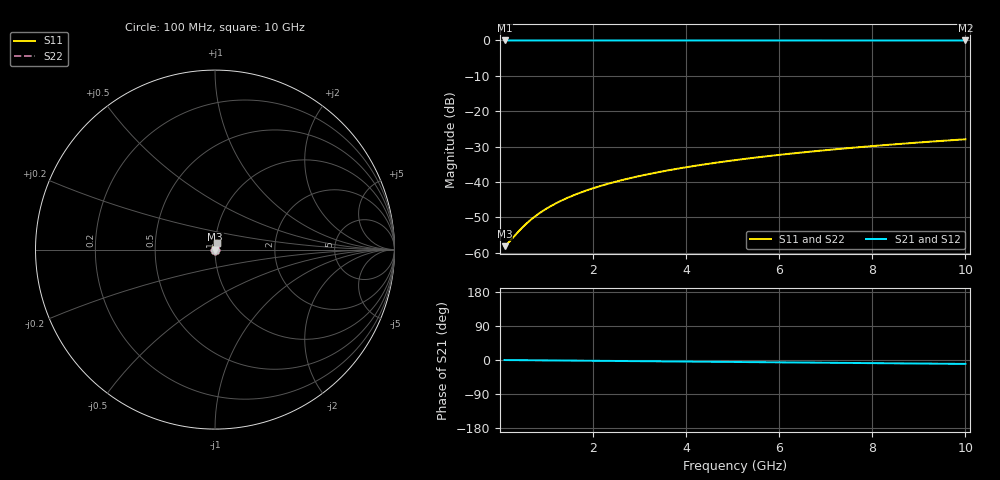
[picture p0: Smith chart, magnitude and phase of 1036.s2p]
# Hz S RI R 50.00
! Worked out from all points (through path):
!   100 points, 100 MHz to 10 GHz, reference 50 ohm
!   highest |S21| = -0.01 dB at 100 MHz (marker M1); lowest = 0.0 dB at 10 GHz (marker M2)
!   group delay of S21, straight-line fit = 2.87 ps
!   lowest |S11| = -58.1 dB at 100 MHz (marker M3), VSWR 1.00, Z = 50.1 + j0.0402 ohm
!   |S11| at or under -10 dB: start of sweep to end of sweep
!   |S22| runs from -58.1 to -27.9 dB; largest |S21 - S12| = 0
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1e8  0.00117 0.000401  0.9988 -0.0018  0.9988 -0.0018  0.00117 0.000401
2e8  0.00118 0.000801  0.9988 -0.00359  0.9988 -0.00359  0.00118 0.000801
4e8  0.0012 0.0016  0.9988 -0.00719  0.9988 -0.00719  0.0012 0.0016
5e8  0.00121 0.002  0.9988 -0.00898  0.9988 -0.00898  0.00121 0.002
6e8  0.00122 0.0024  0.9987 -0.0108  0.9987 -0.0108  0.00122 0.0024
7e8  0.00123 0.0028  0.9987 -0.0126  0.9987 -0.0126  0.00123 0.0028
9e8  0.00126 0.0036  0.9986 -0.0162  0.9986 -0.0162  0.00126 0.0036
1.1e9  0.00129 0.0044  0.9986 -0.0198  0.9986 -0.0198  0.00129 0.0044
1.3e9  0.00133 0.0052  0.9985 -0.0234  0.9985 -0.0234  0.00133 0.0052
1.5e9  0.00137 0.006  0.9984 -0.0269  0.9984 -0.0269  0.00137 0.006
1.8e9  0.00145 0.0072  0.9982 -0.0323  0.9982 -0.0323  0.00145 0.0072
2.1e9  0.00154 0.0084  0.998 -0.0377  0.998 -0.0377  0.00154 0.0084
2.5e9  0.00167 0.01  0.9977 -0.0449  0.9977 -0.0449  0.00167 0.01
2.9e9  0.00183 0.0116  0.9973 -0.0521  0.9973 -0.0521  0.00183 0.0116
3.4e9  0.00206 0.0136  0.9968 -0.0611  0.9968 -0.0611  0.00206 0.0136
4.2e9  0.00251 0.0167  0.9957 -0.0754  0.9957 -0.0754  0.00251 0.0167
5.1e9  0.00311 0.0203  0.9943 -0.0916  0.9943 -0.0916  0.00311 0.0203
5.9e9  0.00375 0.0234  0.9928 -0.1059  0.9928 -0.1059  0.00375 0.0234
6.7e9  0.00448 0.0266  0.991 -0.1202  0.991 -0.1202  0.00448 0.0266
7.5e9  0.0053 0.0297  0.9891 -0.1345  0.9891 -0.1345  0.0053 0.0297
8.4e9  0.00633 0.0331  0.9866 -0.1506  0.9866 -0.1506  0.00633 0.0331
1e10  0.00843 0.0392  0.9816 -0.1791  0.9816 -0.1791  0.00843 0.0392
